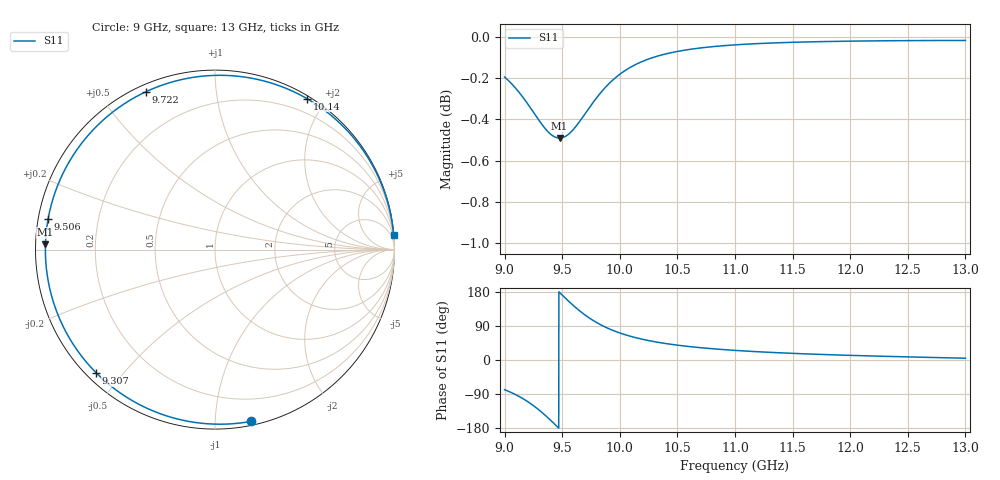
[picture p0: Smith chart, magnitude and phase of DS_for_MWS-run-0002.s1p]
! TOUCHSTONE file generated by CST DESIGN STUDIO
! Date and time: Tue Feb  4 16:01:35 2025
! Project name: C:\Work\MatlabApps\UnitCellOptimizationMatlab\CST\unitcell.cst
! Tree item: Tasks\Sweep1\SPara1\S-Parameters
! Header version: 2024
! Port assignment regex: !\s*Touchstone port\s*([0-9]+)\s*=\s*(CST MWS port|CST DES external port|CST DES block port)\s*(.+)\s* \(\"(.*)\"\)(\s*mode\s*([0-9]+))?.*
! Touchstone port assignment:
! Touchstone port 1 = CST DES external port 1 ("")
# GHz S MA R 50
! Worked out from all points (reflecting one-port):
!   4001 points, 9 GHz to 13 GHz, reference 50 ohm
!   lowest |S11| = -0.5 dB at 9.477 GHz (marker M1), VSWR 35.40, Z = 1.41 + j0.808 ohm
!   phase of S11 starts at -78 deg and turns -277 deg over the sweep
!   S11 on the Smith chart (normalised r, x): 9 GHz: 0.03, -1.23; 9.307 GHz: 0.03, -0.42; 9.506 GHz: 0.03, +0.09; 9.722 GHz: 0.03, +0.65; 10.14 GHz: 0.03, +1.78; 13 GHz: 1, +24
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9  0.9779 -78.3
9.076  0.9732 -88.4
9.174  0.9656 -104.7
9.243  0.9595 -118.8
9.307  0.9537 -134.0
9.352  0.9501 -145.8
9.399  0.9471 -158.9
9.439  0.9456 -170.6
9.477  0.9451 178.1
9.5  0.9452 171.3
9.506  0.9453 169.6
9.558  0.9472 154.5
9.618  0.9512 138.1
9.669  0.9554 125.4
9.722  0.9601 113.6
9.777  0.9648 102.7
9.839  0.9697 92.2
9.918  0.975 80.9
10  0.9794 71.3
10.142  0.9849 58.6
10.304  0.989 48.2
10.5  0.992 39.2
10.722  0.9941 31.9
11  0.9957 25.3
11.5  0.9971 17.5
12  0.9977 12.2
12.5  0.998 8.2
13  0.9981 4.8
